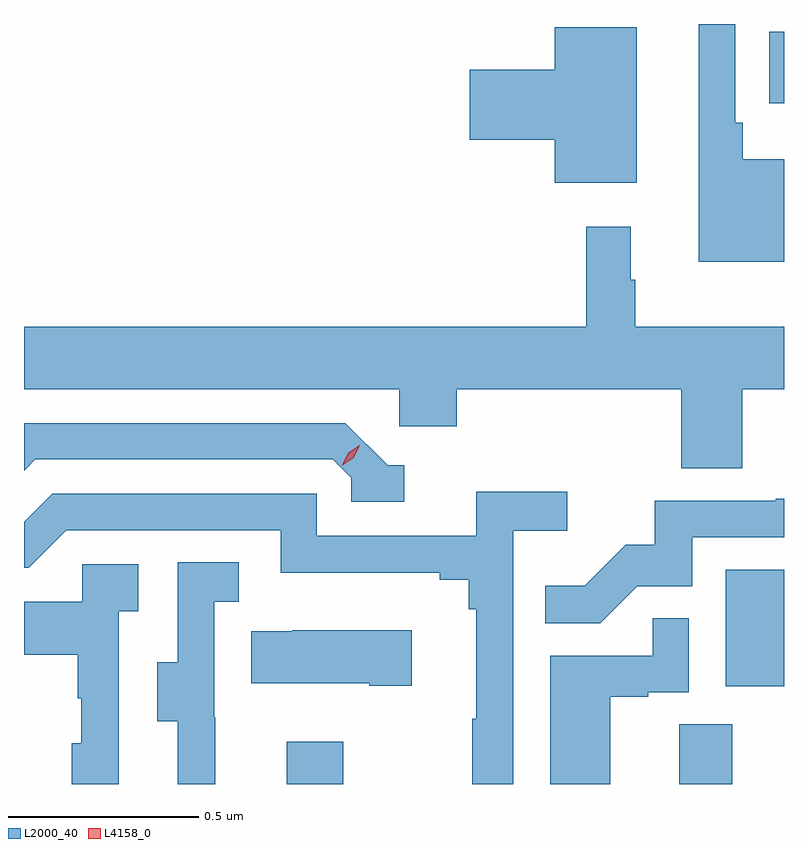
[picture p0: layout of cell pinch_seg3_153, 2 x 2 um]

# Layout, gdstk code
import gdstk
lib = gdstk.Library(unit=1e-6, precision=1e-09)
def R(c, l, rs):  # rectangles x0, y0, x1, y1
    for r in rs: c.add(gdstk.rectangle(r[:2], r[2:], *l))
def P(c, l, *ps):  # polygons
    for p in ps: c.add(gdstk.Polygon(p, *l))
L2000_40 = (2000, 40)
L4158_0 = (4158, 0)

pinch_seg3_153 = lib.new_cell('pinch_seg3_153')
R(pinch_seg3_153, L2000_40, [(1128.131,718.525,1128.279,718.636), (1129.163,718.525,1129.303,718.682), (1129.286,718.782,1129.439,719.089), (1129.4,720.317,1129.439,720.505)])
P(pinch_seg3_153, L2000_40, [(1129.439,720.169),(1129.331,720.169),(1129.331,720.265),(1129.311,720.265),(1129.311,720.525),(1129.214,720.525),(1129.214,719.9),(1129.439,719.9)],
  [(1129.051,720.517),(1128.836,720.517),(1128.836,720.404),(1128.612,720.404),(1128.612,720.221),(1128.836,720.221),(1128.836,720.107),(1129.051,720.107)],
  [(1129.329,719.564),(1129.439,719.564),(1129.439,719.728),(1129.048,719.728),(1129.048,719.852),(1129.036,719.852),(1129.036,719.992),(1128.919,719.992),(1128.919,719.728),(1127.439,719.728),(1127.439,719.564),(1128.426,719.564),(1128.426,719.466),(1128.578,719.466),(1128.578,719.564),(1129.169,719.564),(1129.169,719.356),(1129.329,719.356)],
  [(1128.439,719.364),(1128.396,719.364),(1128.285,719.475),(1127.439,719.475),(1127.439,719.349),(1127.469,719.379),(1128.252,719.379),(1128.3,719.331),(1128.3,719.268),(1128.439,719.268)],
  [(1128.726,719.192),(1128.868,719.192),(1128.868,719.294),(1128.629,719.294),(1128.629,719.178),(1128.21,719.178),(1128.21,719.289),(1127.513,719.289),(1127.439,719.215),(1127.439,719.094),(1127.451,719.094),(1127.55,719.193),(1128.114,719.193),(1128.114,719.081),(1128.533,719.081),(1128.533,719.062),(1128.61,719.062),(1128.61,718.985),(1128.629,718.985),(1128.629,718.697),(1128.618,718.697),(1128.618,718.525),(1128.726,718.525)],
  [(1129.053,719.046),(1129.197,719.046),(1129.197,719.175),(1129.439,719.175),(1129.439,719.276),(1129.417,719.276),(1129.417,719.271),(1129.099,719.271),(1129.099,719.154),(1129.022,719.154),(1128.915,719.047),(1128.811,719.047),(1128.811,718.948),(1128.955,718.948)],
  [(1127.942,718.701),(1127.94,718.701),(1127.94,719.005),(1128.004,719.005),(1128.004,719.108),(1127.844,719.108),(1127.844,718.845),(1127.789,718.845),(1127.789,718.69),(1127.843,718.69),(1127.843,718.525),(1127.942,718.525)],
  [(1127.688,718.979),(1127.74,718.979),(1127.74,719.103),(1127.592,719.103),(1127.592,719.005),(1127.439,719.005),(1127.439,718.865),(1127.58,718.865),(1127.58,718.751),(1127.59,718.751),(1127.59,718.632),(1127.564,718.632),(1127.564,718.525),(1127.688,718.525)],
  [(1128.982,718.755),(1129.082,718.755),(1129.082,718.767),(1129.188,718.767),(1129.188,718.961),(1129.093,718.961),(1129.093,718.863),(1128.824,718.863),(1128.824,718.525),(1128.982,718.525)],
  [(1128.46,718.93),(1128.145,718.93),(1128.145,718.927),(1128.037,718.927),(1128.037,718.79),(1128.347,718.79),(1128.347,718.783),(1128.46,718.783)])
P(pinch_seg3_153, L4158_0, [(1128.277,719.364),(1128.277,719.365),(1128.292,719.397),(1128.323,719.417),(1128.323,719.417),(1128.323,719.417),(1128.307,719.384),(1128.277,719.364)])

lib.write_gds('pinch_seg3_153.gds')
